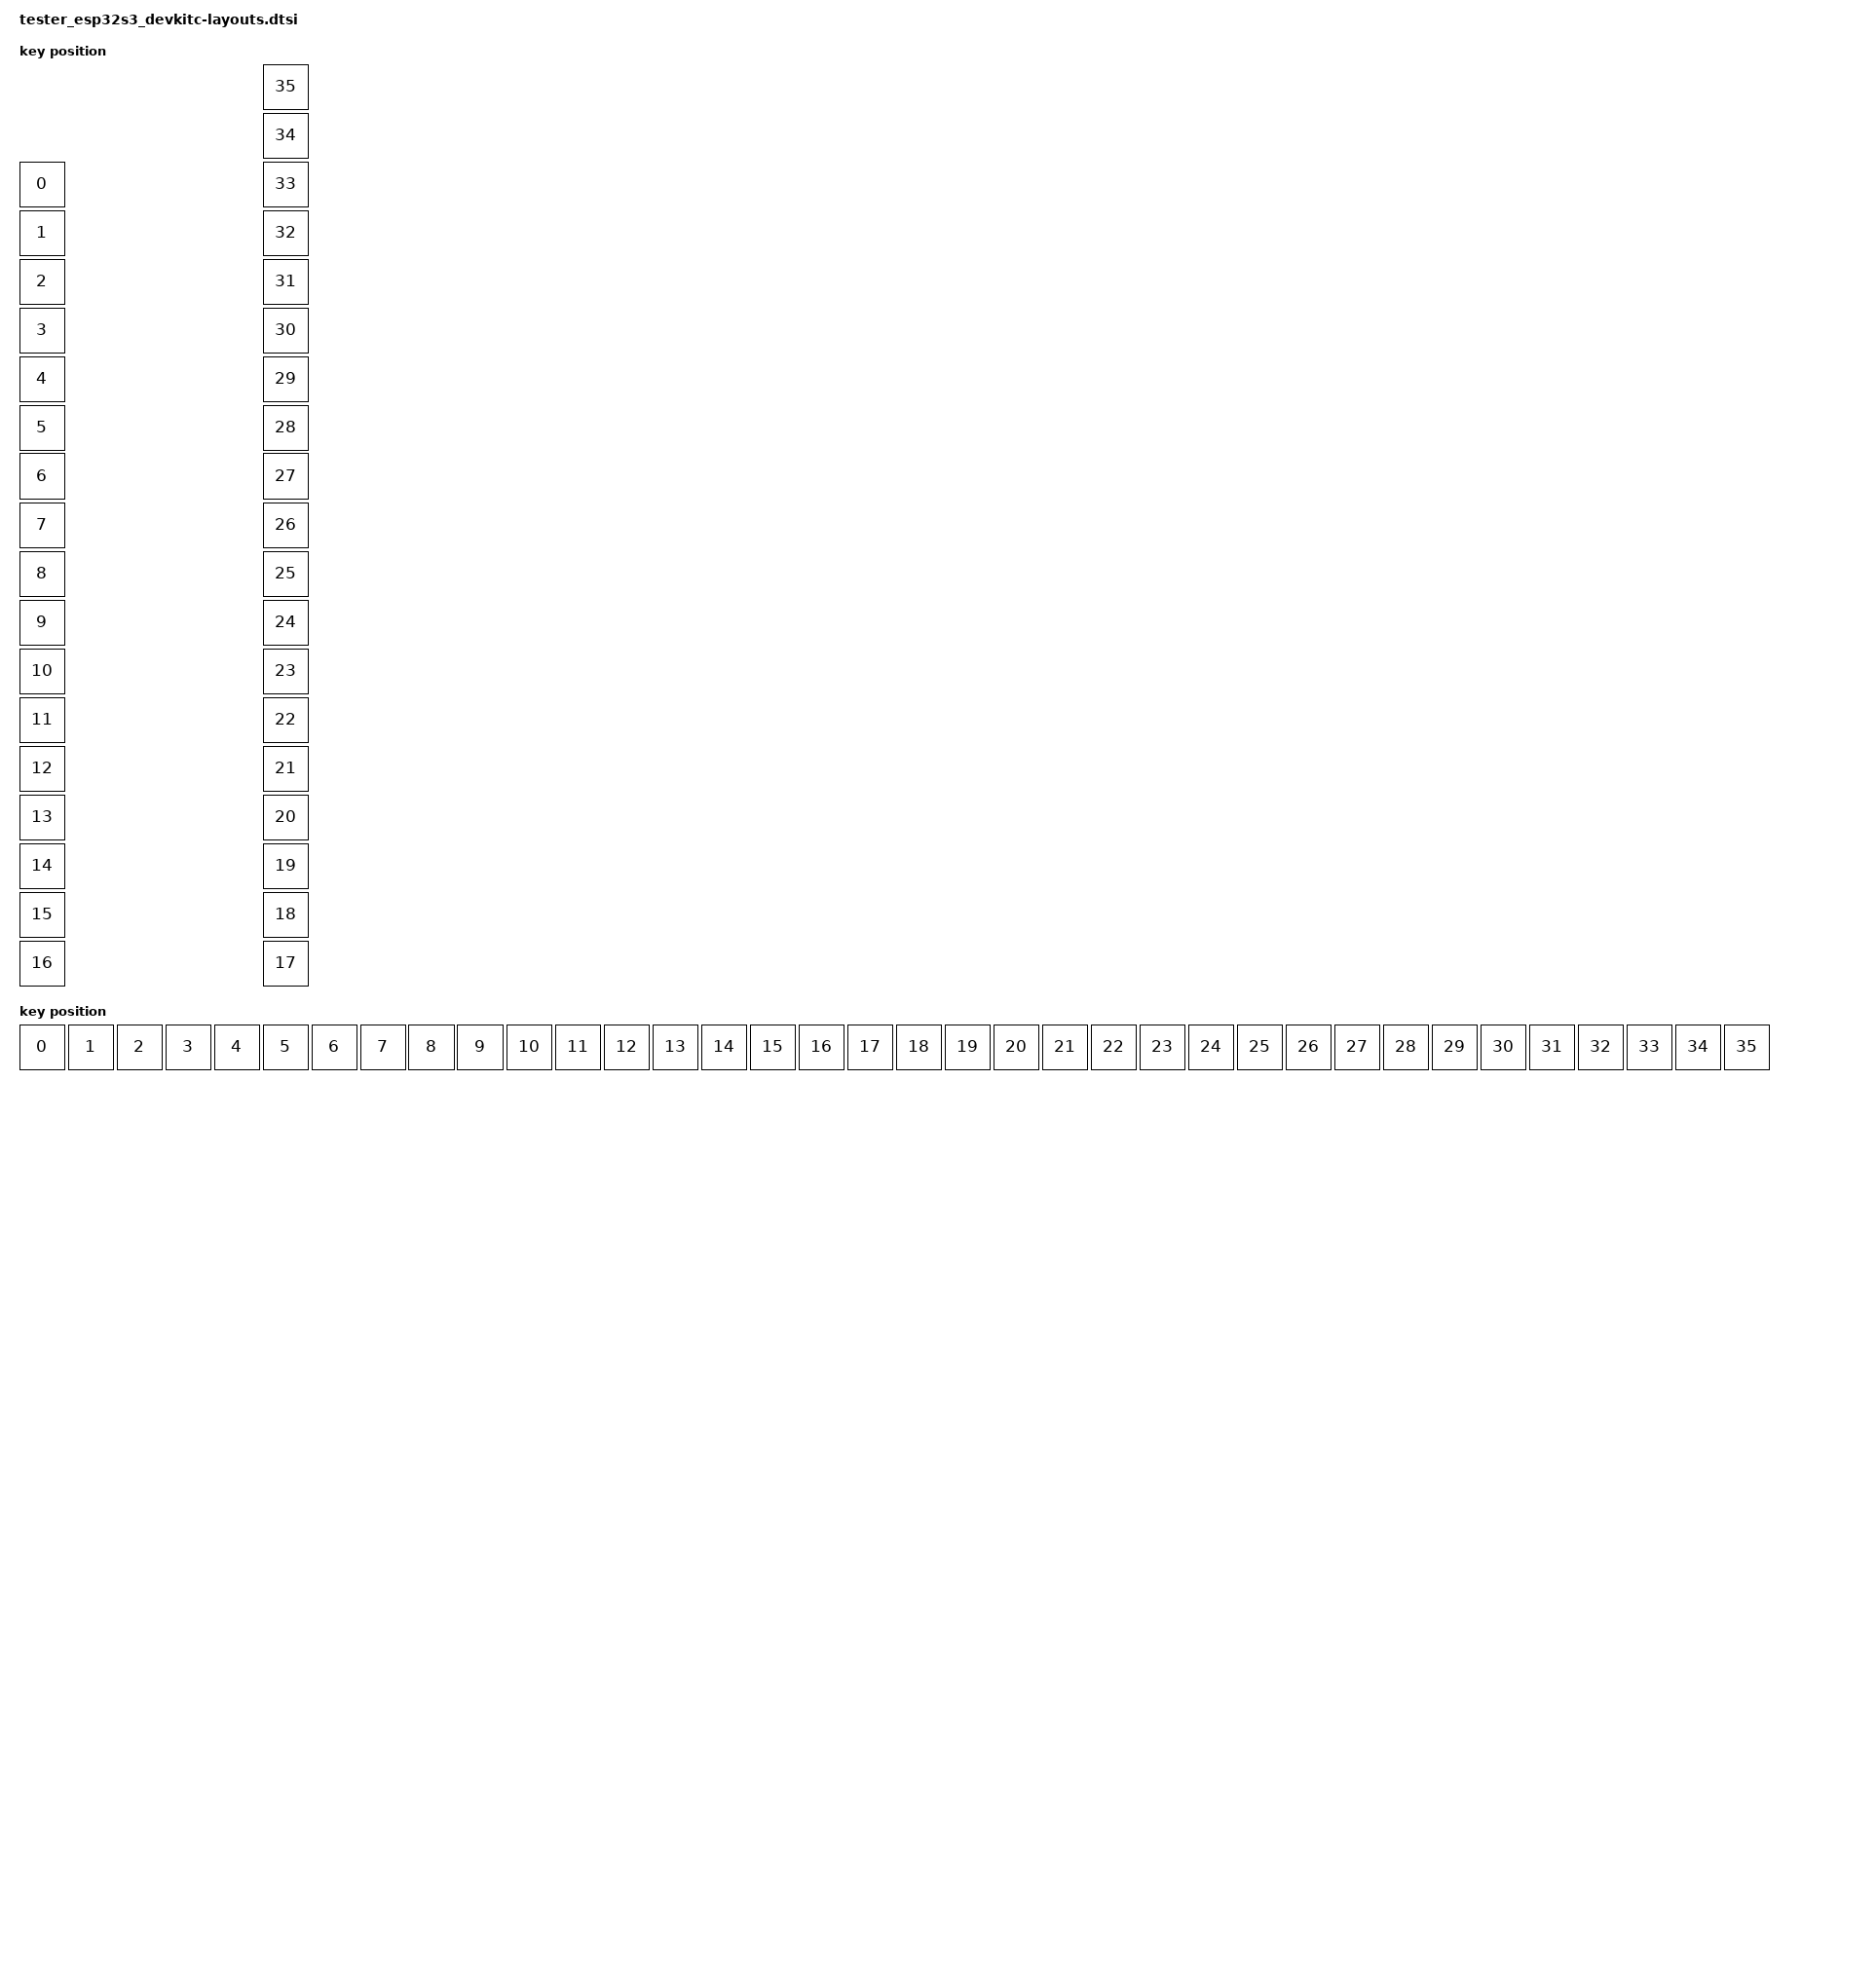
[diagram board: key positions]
/*
 * Copyright (c) 2025 The ZMK Contributors
 *
 * SPDX-License-Identifier: MIT
 */

#include <physical_layouts.dtsi>

/ {
    tester_position_map {
        compatible = "zmk,physical-layout-position-map";
        complete;

        pinout_map: pinout_positions {
            physical-layout = <&physical_layout0>;
            positions = <0 1 2 3 4 5 6 7 8 9 10 11 12 13 14 15 16 17 18 19 20 21 22 23 24 25 26 27 28 29 30 31 32 33 34 35>;
        };
        inline_map: single_row_positions {
            physical-layout = <&physical_layout1>;
            positions = <0 1 2 3 4 5 6 7 8 9 10 11 12 13 14 15 16 17 18 19 20 21 22 23 24 25 26 27 28 29 30 31 32 33 34 35>;
        };
    };

    physical_layout0: physical_layout_0 {
        compatible = "zmk,physical-layout";
        display-name = "ESP32-S3 DevKitC Pinout";

        kscan = <&kscan0>;
        transform = <&matrix_transform0>;

        keys  //                     w   h    x    y     rot    rx    ry
            = <&key_physical_attrs 100 100    0  200       0     0   200>
            , <&key_physical_attrs 100 100    0  300       0     0   300>
            , <&key_physical_attrs 100 100    0  400       0     0   400>
            , <&key_physical_attrs 100 100    0  500       0     0   500>
            , <&key_physical_attrs 100 100    0  600       0     0   600>
            , <&key_physical_attrs 100 100    0  700       0     0   700>
            , <&key_physical_attrs 100 100    0  800       0     0   800>
            , <&key_physical_attrs 100 100    0  900       0     0   900>
            , <&key_physical_attrs 100 100    0 1000       0     0  1000>
            , <&key_physical_attrs 100 100    0 1100       0     0  1100>
            , <&key_physical_attrs 100 100    0 1200       0     0  1200>
            , <&key_physical_attrs 100 100    0 1300       0     0  1300>
            , <&key_physical_attrs 100 100    0 1400       0     0  1400>
            , <&key_physical_attrs 100 100    0 1500       0     0  1500>
            , <&key_physical_attrs 100 100    0 1600       0     0  1600>
            , <&key_physical_attrs 100 100    0 1700       0     0  1700>
            , <&key_physical_attrs 100 100    0 1800       0     0  1800>
            , <&key_physical_attrs 100 100  500 1800       0   500  1800>
            , <&key_physical_attrs 100 100  500 1700       0   500  1700>
            , <&key_physical_attrs 100 100  500 1600       0   500  1600>
            , <&key_physical_attrs 100 100  500 1500       0   500  1500>
            , <&key_physical_attrs 100 100  500 1400       0   500  1400>
            , <&key_physical_attrs 100 100  500 1300       0   500  1300>
            , <&key_physical_attrs 100 100  500 1200       0   500  1200>
            , <&key_physical_attrs 100 100  500 1100       0   500  1100>
            , <&key_physical_attrs 100 100  500 1000       0   500  1000>
            , <&key_physical_attrs 100 100  500  900       0   500   900>
            , <&key_physical_attrs 100 100  500  800       0   500   800>
            , <&key_physical_attrs 100 100  500  700       0   500   700>
            , <&key_physical_attrs 100 100  500  600       0   500   600>
            , <&key_physical_attrs 100 100  500  500       0   500   500>
            , <&key_physical_attrs 100 100  500  400       0   500   400>
            , <&key_physical_attrs 100 100  500  300       0   500   300>
            , <&key_physical_attrs 100 100  500  200       0   500   200>
            , <&key_physical_attrs 100 100  500  100       0   500   100>
            , <&key_physical_attrs 100 100  500    0       0   500     0>
            ;
    };

    physical_layout1: physical_layout_1 {
        compatible = "zmk,physical-layout";
        display-name = "Single Row";

        // Single row of 35 "keys", as per the order round the physical board (17 + 19).
        keys  //                     w   h    x    y    rot   rx   ry
            = <&key_physical_attrs 100 100    0    0      0    0    0>
            , <&key_physical_attrs 100 100  100    0      0    0    0>
            , <&key_physical_attrs 100 100  200    0      0    0    0>
            , <&key_physical_attrs 100 100  300    0      0    0    0>
            , <&key_physical_attrs 100 100  400    0      0    0    0>
            , <&key_physical_attrs 100 100  500    0      0    0    0>
            , <&key_physical_attrs 100 100  600    0      0    0    0>
            , <&key_physical_attrs 100 100  700    0      0    0    0>
            , <&key_physical_attrs 100 100  800    0      0    0    0>
            , <&key_physical_attrs 100 100  900    0      0    0    0>
            , <&key_physical_attrs 100 100 1000    0      0    0    0>
            , <&key_physical_attrs 100 100 1100    0      0    0    0>
            , <&key_physical_attrs 100 100 1200    0      0    0    0>
            , <&key_physical_attrs 100 100 1300    0      0    0    0>
            , <&key_physical_attrs 100 100 1400    0      0    0    0>
            , <&key_physical_attrs 100 100 1500    0      0    0    0>
            , <&key_physical_attrs 100 100 1600    0      0    0    0>
            , <&key_physical_attrs 100 100 1700    0      0    0    0>
            , <&key_physical_attrs 100 100 1800    0      0    0    0>
            , <&key_physical_attrs 100 100 1900    0      0    0    0>
            , <&key_physical_attrs 100 100 2000    0      0    0    0>
            , <&key_physical_attrs 100 100 2100    0      0    0    0>
            , <&key_physical_attrs 100 100 2200    0      0    0    0>
            , <&key_physical_attrs 100 100 2300    0      0    0    0>
            , <&key_physical_attrs 100 100 2400    0      0    0    0>
            , <&key_physical_attrs 100 100 2500    0      0    0    0>
            , <&key_physical_attrs 100 100 2600    0      0    0    0>
            , <&key_physical_attrs 100 100 2700    0      0    0    0>
            , <&key_physical_attrs 100 100 2800    0      0    0    0>
            , <&key_physical_attrs 100 100 2900    0      0    0    0>
            , <&key_physical_attrs 100 100 3000    0      0    0    0>
            , <&key_physical_attrs 100 100 3100    0      0    0    0>
            , <&key_physical_attrs 100 100 3200    0      0    0    0>
            , <&key_physical_attrs 100 100 3300    0      0    0    0>
            , <&key_physical_attrs 100 100 3400    0      0    0    0>
            , <&key_physical_attrs 100 100 3500    0      0    0    0>
            ;
    };
};
